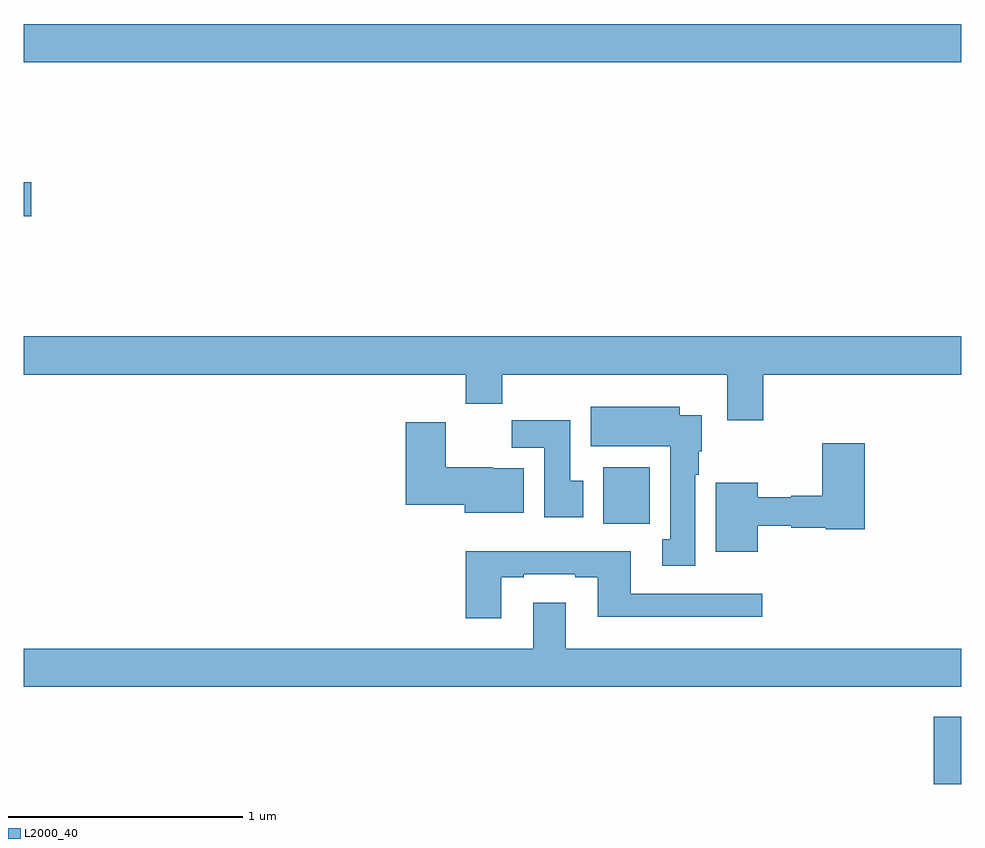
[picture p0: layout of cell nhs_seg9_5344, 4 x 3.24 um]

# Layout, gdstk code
import gdstk
lib = gdstk.Library(unit=1e-6, precision=1e-09)
def R(c, l, rs):  # rectangles x0, y0, x1, y1
    for r in rs: c.add(gdstk.rectangle(r[:2], r[2:], *l))
def P(c, l, *ps):  # polygons
    for p in ps: c.add(gdstk.Polygon(p, *l))
L2000_40 = (2000, 40)

nhs_seg9_5344 = lib.new_cell('nhs_seg9_5344')
R(nhs_seg9_5344, L2000_40, [(424.883,1206.662,425,1206.949), (423.473,1207.772,423.67,1208.014), (421,1209.083,421.033,1209.23), (421,1209.74,425,1209.904)])
P(nhs_seg9_5344, L2000_40, [(424.154,1208.408),(425,1208.408),(425,1208.572),(421,1208.572),(421,1208.408),(422.885,1208.408),(422.885,1208.284),(423.041,1208.284),(423.041,1208.408),(424.001,1208.408),(424.001,1208.214),(424.154,1208.214)],
  [(423.865,1207.982),(423.88,1207.982),(423.88,1208.082),(423.892,1208.082),(423.892,1208.236),(423.799,1208.236),(423.799,1208.272),(423.419,1208.272),(423.419,1208.102),(423.758,1208.102),(423.758,1207.706),(423.725,1207.706),(423.725,1207.593),(423.865,1207.593)],
  [(423.388,1207.956),(423.331,1207.956),(423.331,1208.214),(423.082,1208.214),(423.082,1208.096),(423.221,1208.096),(423.221,1207.8),(423.388,1207.8)],
  [(423.133,1208.008),(423,1208.008),(423,1208.014),(422.8,1208.014),(422.8,1208.206),(422.63,1208.206),(422.63,1207.853),(422.882,1207.853),(422.882,1207.82),(423.133,1207.82)],
  [(424.132,1207.764),(424.275,1207.764),(424.275,1207.756),(424.422,1207.756),(424.422,1207.748),(424.589,1207.748),(424.589,1208.116),(424.406,1208.116),(424.406,1207.892),(424.275,1207.892),(424.275,1207.885),(424.132,1207.885),(424.132,1207.948),(423.953,1207.948),(423.953,1207.652),(424.132,1207.652)],
  [(423.037,1207.545),(423.133,1207.545),(423.133,1207.557),(423.353,1207.557),(423.353,1207.545),(423.449,1207.545),(423.449,1207.376),(424.15,1207.376),(424.15,1207.473),(423.589,1207.473),(423.589,1207.654),(422.885,1207.654),(422.885,1207.368),(423.037,1207.368)],
  [(425,1207.24),(423.313,1207.24),(423.313,1207.435),(423.173,1207.435),(423.173,1207.24),(421,1207.24),(421,1207.076),(425,1207.076)])

lib.write_gds('nhs_seg9_5344.gds')
